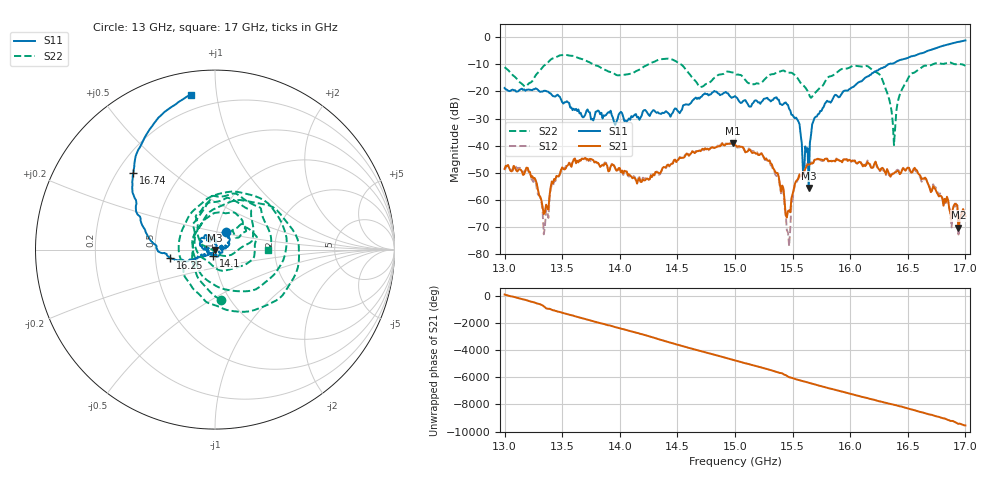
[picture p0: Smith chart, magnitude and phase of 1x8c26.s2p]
!Keysight Technologies,P9374A,MY57211807,A.19.30.04
!Date: Friday, May 08, 2026 15:09:52
!Correction: S11(C  2-Port  )
!S21(C  2-Port  )
!S12(C  2-Port  )
!S22(C  2-Port  )
!S2P File: Measurements: S11, S21, S12, S22:
# Hz S  dB  R 50
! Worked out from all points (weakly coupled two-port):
!   401 points, 13 GHz to 17 GHz, reference 50 ohm
!   highest |S21| = -39.07 dB at 14.98 GHz (marker M1); lowest = -70.2 dB at 16.94 GHz (marker M2)
!   lowest |S11| = -55.6 dB at 15.64 GHz (marker M3), VSWR 1.00, Z = 50 - j0.162 ohm
!   |S11| at or under -10 dB: start of sweep to 16.33 GHz
!   |S22| runs from -39.8 to -6.5 dB; largest |S21 - S12| = 0.00081
!   S11 on the Smith chart (normalised r, x): 13 GHz: 1.11, +0.22; 14.1 GHz: 0.98, -0.07; 16.25 GHz: 0.60, -0.06; 16.74 GHz: 0.27, +0.37; 17 GHz: 0.12, +0.85
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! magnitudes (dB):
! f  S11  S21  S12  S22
! 13 GHz  -18.7  -48.5  -49.1  -11.0
! 13.21 GHz  -19.3  -49.6  -49.9  -17.0
! 13.36 GHz  -19.8  -61.8  -63.8  -9.9
! 13.43 GHz  -21.8  -52.3  -53.0  -7.6
! 13.67 GHz  -29.1  -44.8  -44.8  -8.0
! 14.1 GHz  -29.1  -51.4  -51.7  -13.4
! 14.34 GHz  -28.1  -50.2  -50.8  -8.2
! 14.7 GHz  -22.1  -42.0  -42.1  -18.4
! 14.98 GHz  -22.2  -39.1  -39.3  -13.0
! 15 GHz  -21.7  -39.7  -39.9  -13.4
! 15.32 GHz  -23.3  -46.9  -47.6  -13.6
! 15.46 GHz  -25.0  -64.1  -72.1  -13.1
! 15.53 GHz  -29.6  -53.1  -53.8  -14.4
! 15.64 GHz  -55.6  -47.0  -46.7  -20.8
! 15.67 GHz  -32.1  -46.6  -46.5  -21.9
! 16.25 GHz  -11.9  -48.8  -49.2  -13.5
! 16.34 GHz  -9.9  -50.6  -51.1  -23.1
! 16.38 GHz  -9.5  -50.2  -50.0  -39.8
! 16.51 GHz  -7.4  -48.2  -48.5  -14.5
! 16.74 GHz  -4.1  -56.1  -55.3  -9.6
! 16.94 GHz  -1.7  -70.2  -72.8  -9.9
! 17 GHz  -1.2  -66.0  -65.5  -10.5
